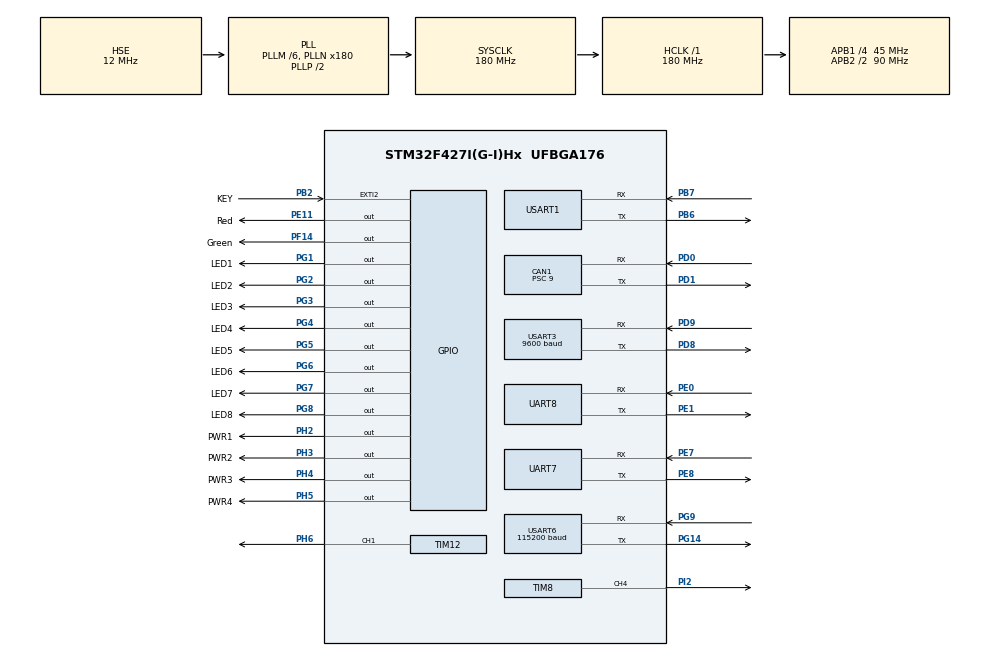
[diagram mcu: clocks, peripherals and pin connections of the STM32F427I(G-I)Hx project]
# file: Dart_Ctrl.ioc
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CAN1.ABOM=ENABLE
CAN1.BS1=CAN_BS1_2TQ
CAN1.BS2=CAN_BS2_2TQ
CAN1.CalculateBaudRate=1000000
CAN1.CalculateTimeBit=1000
CAN1.CalculateTimeQuantum=200.0
CAN1.Prescaler=9
Dma.Request0=UART7_RX
Dma.Request1=UART7_TX
Dma.Request2=USART3_TX
Dma.Request3=USART6_RX
Dma.UART7_RX.0.Direction=DMA_PERIPH_TO_MEMORY
Dma.UART7_RX.0.FIFOMode=DMA_FIFOMODE_DISABLE
Dma.UART7_RX.0.Instance=DMA1_Stream3
Dma.UART7_RX.0.MemDataAlignment=DMA_MDATAALIGN_BYTE
Dma.UART7_RX.0.MemInc=DMA_MINC_ENABLE
Dma.UART7_RX.0.Mode=DMA_NORMAL
Dma.UART7_RX.0.PeriphDataAlignment=DMA_PDATAALIGN_BYTE
Dma.UART7_RX.0.PeriphInc=DMA_PINC_DISABLE
Dma.UART7_RX.0.Priority=DMA_PRIORITY_LOW
Dma.UART7_TX.1.Direction=DMA_MEMORY_TO_PERIPH
Dma.UART7_TX.1.FIFOMode=DMA_FIFOMODE_DISABLE
Dma.UART7_TX.1.Instance=DMA1_Stream1
Dma.UART7_TX.1.MemDataAlignment=DMA_MDATAALIGN_BYTE
Dma.UART7_TX.1.MemInc=DMA_MINC_ENABLE
Dma.UART7_TX.1.Mode=DMA_NORMAL
Dma.UART7_TX.1.PeriphDataAlignment=DMA_PDATAALIGN_BYTE
Dma.UART7_TX.1.PeriphInc=DMA_PINC_DISABLE
Dma.UART7_TX.1.Priority=DMA_PRIORITY_LOW
Dma.USART3_TX.2.Direction=DMA_MEMORY_TO_PERIPH
Dma.USART3_TX.2.FIFOMode=DMA_FIFOMODE_DISABLE
Dma.USART3_TX.2.Instance=DMA1_Stream4
Dma.USART3_TX.2.MemDataAlignment=DMA_MDATAALIGN_BYTE
Dma.USART3_TX.2.MemInc=DMA_MINC_ENABLE
Dma.USART3_TX.2.Mode=DMA_NORMAL
Dma.USART3_TX.2.PeriphDataAlignment=DMA_PDATAALIGN_BYTE
Dma.USART3_TX.2.PeriphInc=DMA_PINC_DISABLE
Dma.USART3_TX.2.Priority=DMA_PRIORITY_LOW
Dma.USART6_RX.3.Direction=DMA_PERIPH_TO_MEMORY
Dma.USART6_RX.3.FIFOMode=DMA_FIFOMODE_DISABLE
Dma.USART6_RX.3.Instance=DMA2_Stream1
Dma.USART6_RX.3.MemDataAlignment=DMA_MDATAALIGN_BYTE
Dma.USART6_RX.3.MemInc=DMA_MINC_ENABLE
Dma.USART6_RX.3.Mode=DMA_NORMAL
Dma.USART6_RX.3.PeriphDataAlignment=DMA_PDATAALIGN_BYTE
Dma.USART6_RX.3.PeriphInc=DMA_PINC_DISABLE
Dma.USART6_RX.3.Priority=DMA_PRIORITY_LOW
FREERTOS.Tasks01=defaultTask,24,128,StartDefaultTask,Default,NULL,Dynamic,NULL,NULL
FREERTOS.configENABLE_FPU=1
Mcu.Family=STM32F4
Mcu.Name=STM32F427I(G-I)Hx
Mcu.Package=UFBGA176
NVIC.CAN1_RX0_IRQn=true\:5\:0\:false\:false\:true\:true\:true\:true\:true
NVIC.CAN1_RX1_IRQn=true\:5\:0\:false\:false\:true\:true\:true\:true\:true
NVIC.CAN1_SCE_IRQn=true\:5\:0\:false\:false\:true\:true\:true\:true\:true
NVIC.CAN1_TX_IRQn=true\:5\:0\:false\:false\:true\:true\:true\:true\:true
NVIC.DMA1_Stream1_IRQn=true\:5\:0\:false\:false\:true\:true\:false\:true\:true
NVIC.DMA1_Stream3_IRQn=true\:5\:0\:false\:false\:true\:true\:false\:true\:true
NVIC.DMA1_Stream4_IRQn=true\:5\:0\:false\:false\:true\:true\:false\:true\:true
NVIC.DMA2_Stream1_IRQn=true\:5\:0\:false\:false\:true\:true\:false\:true\:true
NVIC.PriorityGroup=NVIC_PRIORITYGROUP_4
NVIC.TIM4_IRQn=true\:1\:0\:true\:false\:true\:false\:false\:true\:true
NVIC.TimeBase=TIM4_IRQn
NVIC.TimeBaseIP=TIM4
NVIC.UART7_IRQn=true\:5\:0\:false\:false\:true\:true\:true\:true\:true
NVIC.UART8_IRQn=true\:5\:0\:false\:false\:true\:true\:true\:true\:true
NVIC.USART3_IRQn=true\:5\:0\:false\:false\:true\:true\:true\:true\:true
NVIC.USART6_IRQn=true\:5\:0\:false\:false\:true\:true\:true\:true\:true
PA13.Mode=Serial_Wire
PA13.Signal=SYS_JTMS-SWDIO
PA14.Mode=Serial_Wire
PA14.Signal=SYS_JTCK-SWCLK
PB2/BOOT1.GPIO_Label=KEY
PB2/BOOT1.GPIO_ModeDefaultEXTI=GPIO_MODE_IT_RISING
PB2/BOOT1.GPIO_PuPd=GPIO_PULLDOWN
PB2/BOOT1.Signal=GPXTI2
PB6.Mode=Asynchronous
PB6.Signal=USART1_TX
PB7.Mode=Asynchronous
PB7.Signal=USART1_RX
PC14/OSC32_IN.Mode=LSE-External-Oscillator
PC14/OSC32_IN.Signal=RCC_OSC32_IN
PC15/OSC32_OUT.Mode=LSE-External-Oscillator
PC15/OSC32_OUT.Signal=RCC_OSC32_OUT
PD0.Mode=CAN_Activate
PD0.Signal=CAN1_RX
PD1.Mode=CAN_Activate
PD1.Signal=CAN1_TX
PD8.Mode=Asynchronous
PD8.Signal=USART3_TX
PD9.Mode=Asynchronous
PD9.Signal=USART3_RX
PE0.Mode=Asynchronous
PE0.Signal=UART8_RX
PE1.Mode=Asynchronous
PE1.Signal=UART8_TX
PE11.GPIO_Label=Red
PE11.GPIO_PuPd=GPIO_PULLDOWN
PE11.PinState=GPIO_PIN_SET
PE11.Signal=GPIO_Output
PE7.Mode=Asynchronous
PE7.Signal=UART7_RX
PE8.Mode=Asynchronous
PE8.Signal=UART7_TX
PF14.GPIO_Label=Green
PF14.GPIO_PuPd=GPIO_PULLDOWN
PF14.GPIO_Speed=GPIO_SPEED_FREQ_LOW
PF14.PinState=GPIO_PIN_SET
PF14.Signal=GPIO_Output
PG1.GPIO_Label=LED1
PG1.GPIO_PuPd=GPIO_PULLDOWN
PG1.PinState=GPIO_PIN_SET
PG1.Signal=GPIO_Output
PG14.Mode=Asynchronous
PG14.Signal=USART6_TX
PG2.GPIO_Label=LED2
PG2.GPIO_PuPd=GPIO_PULLDOWN
PG2.PinState=GPIO_PIN_SET
PG2.Signal=GPIO_Output
PG3.GPIO_Label=LED3
PG3.GPIO_PuPd=GPIO_PULLDOWN
PG3.PinState=GPIO_PIN_SET
PG3.Signal=GPIO_Output
PG4.GPIO_Label=LED4
PG4.GPIO_PuPd=GPIO_PULLDOWN
PG4.PinState=GPIO_PIN_SET
PG4.Signal=GPIO_Output
PG5.GPIO_Label=LED5
PG5.GPIO_PuPd=GPIO_PULLDOWN
PG5.PinState=GPIO_PIN_SET
PG5.Signal=GPIO_Output
PG6.GPIO_Label=LED6
PG6.GPIO_PuPd=GPIO_PULLDOWN
PG6.PinState=GPIO_PIN_SET
PG6.Signal=GPIO_Output
PG7.GPIO_Label=LED7
PG7.GPIO_PuPd=GPIO_PULLDOWN
PG7.PinState=GPIO_PIN_SET
PG7.Signal=GPIO_Output
PG8.GPIO_Label=LED8
PG8.GPIO_PuPd=GPIO_PULLDOWN
PG8.PinState=GPIO_PIN_SET
PG8.Signal=GPIO_Output
PG9.Mode=Asynchronous
PG9.Signal=USART6_RX
PH0/OSC_IN.Mode=HSE-External-Oscillator
PH0/OSC_IN.Signal=RCC_OSC_IN
PH1/OSC_OUT.Mode=HSE-External-Oscillator
PH1/OSC_OUT.Signal=RCC_OSC_OUT
PH2.GPIO_Label=PWR1
PH2.GPIO_ModeDefaultOutputPP=GPIO_MODE_OUTPUT_PP
PH2.GPIO_PuPd=GPIO_PULLDOWN
PH2.Signal=GPIO_Output
PH3.GPIO_Label=PWR2
PH3.GPIO_PuPd=GPIO_PULLDOWN
PH3.Signal=GPIO_Output
PH4.GPIO_Label=PWR3
PH4.GPIO_PuPd=GPIO_PULLDOWN
PH4.Signal=GPIO_Output
PH5.GPIO_Label=PWR4
PH5.GPIO_PuPd=GPIO_PULLDOWN
PH5.Signal=GPIO_Output
PH6.Signal=S_TIM12_CH1
PI2.Signal=S_TIM8_CH4
ProjectManager.HeapSize=0x200
ProjectManager.StackSize=0x400
ProjectManager.TargetToolchain=MDK-ARM V5.32
RCC.48MHZClocksFreq_Value=90000000
RCC.AHBFreq_Value=180000000
RCC.APB1CLKDivider=RCC_HCLK_DIV4
RCC.APB1Freq_Value=45000000
RCC.APB1TimFreq_Value=90000000
RCC.APB2CLKDivider=RCC_HCLK_DIV2
RCC.APB2Freq_Value=90000000
RCC.APB2TimFreq_Value=180000000
RCC.CortexFreq_Value=180000000
RCC.HCLKFreq_Value=180000000
RCC.HSE_VALUE=12000000
RCC.HSI_VALUE=16000000
RCC.PLLM=6
RCC.PLLN=180
RCC.PLLSourceVirtual=RCC_PLLSOURCE_HSE
RCC.SYSCLKFreq_VALUE=180000000
RCC.SYSCLKSource=RCC_SYSCLKSOURCE_PLLCLK
RCC.VCOOutputFreq_Value=360000000
SH.S_TIM12_CH1.0=TIM12_CH1,PWM Generation1 CH1
SH.S_TIM8_CH4.0=TIM8_CH4,PWM Generation4 CH4
TIM12.AutoReloadPreload=TIM_AUTORELOAD_PRELOAD_ENABLE
TIM12.Channel-PWM\ Generation1\ CH1=TIM_CHANNEL_1
TIM12.Period=9000 - 1
TIM12.Pulse-PWM\ Generation1\ CH1=2699
TIM8.AutoReloadPreload=TIM_AUTORELOAD_PRELOAD_ENABLE
TIM8.Channel-PWM\ Generation4\ CH4=TIM_CHANNEL_4
TIM8.Period=20000 - 1
TIM8.Prescaler=180 - 1
TIM8.Pulse-PWM\ Generation4\ CH4=2500
UART7.VirtualMode=Asynchronous
UART8.VirtualMode=Asynchronous
USART1.VirtualMode=VM_ASYNC
USART3.BaudRate=9600
USART3.VirtualMode=VM_ASYNC
USART6.BaudRate=115200
USART6.VirtualMode=VM_ASYNC
VP_FREERTOS_VS_CMSIS_V2.Mode=CMSIS_V2
VP_SYS_VS_tim4.Mode=TIM4
VP_TIM12_VS_ClockSourceINT.Mode=Internal
VP_TIM8_VS_ClockSourceINT.Mode=Internal
board=custom

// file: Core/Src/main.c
/* USER CODE BEGIN Header */
/**
 ******************************************************************************
 * @file           : main.c
 * @brief          : Main program body
 ******************************************************************************
 * @attention
 *
 * Copyright (c) 2025 STMicroelectronics.
 * All rights reserved.
 *
 * This software is licensed under terms that can be found in the LICENSE file
 * in the root directory of this software component.
 * If no LICENSE file comes with this software, it is provided AS-IS.
 *
 ******************************************************************************
 */
/* USER CODE END Header */
#include "main.h"
#include "cmsis_os.h"
#include "can.h"
#include "dma.h"
#include "tim.h"
#include "usart.h"
#include "gpio.h"

/* USER CODE BEGIN Includes */
#include "UserTask.h"
#include "SoftwareWatchdog.h"

/* USER CODE END Includes */

void SystemClock_Config(void);
void MX_FREERTOS_Init(void);

int main(void)
{

  /* MCU Configuration--------------------------------------------------------*/

  /* Reset of all peripherals, Initializes the Flash interface and the Systick. */
  HAL_Init();

  /* Configure the system clock */
  SystemClock_Config();

  /* Initialize all configured peripherals */
  MX_GPIO_Init();
  MX_DMA_Init();
  MX_CAN1_Init();
  MX_UART7_Init();
  MX_USART3_UART_Init();
  MX_USART6_UART_Init();
  MX_UART8_Init();
  MX_TIM12_Init();
  MX_USART1_UART_Init();
  MX_TIM8_Init();
  /* USER CODE BEGIN 2 */

  // 对各个外设进行初始化
  Module_Init(); /* 调用 Module_Init。 */

  /* USER CODE END 2 */

  /* Init scheduler */
  osKernelInitialize(); /* Call init function for freertos objects (in cmsis_os2.c) */
  MX_FREERTOS_Init();

  /* Start scheduler */
  osKernelStart();

  /* We should never get here as control is now taken by the scheduler */

  /* Infinite loop */
  /* USER CODE BEGIN WHILE */
  while (1) /* 持续执行当前任务。 */
  {

    /* USER CODE END WHILE */

  }
}

void SystemClock_Config(void)
{
  RCC_OscInitTypeDef RCC_OscInitStruct = {0};
  RCC_ClkInitTypeDef RCC_ClkInitStruct = {0};

  /** Configure the main internal regulator output voltage
   */
  __HAL_RCC_PWR_CLK_ENABLE();
  __HAL_PWR_VOLTAGESCALING_CONFIG(PWR_REGULATOR_VOLTAGE_SCALE1);

  /** Initializes the RCC Oscillators according to the specified parameters
   * in the RCC_OscInitTypeDef structure.
   */
  RCC_OscInitStruct.OscillatorType = RCC_OSCILLATORTYPE_HSE;
  RCC_OscInitStruct.HSEState = RCC_HSE_ON;
  RCC_OscInitStruct.PLL.PLLState = RCC_PLL_ON;
  RCC_OscInitStruct.PLL.PLLSource = RCC_PLLSOURCE_HSE;
  RCC_OscInitStruct.PLL.PLLM = 6;
  RCC_OscInitStruct.PLL.PLLN = 180;
  RCC_OscInitStruct.PLL.PLLP = RCC_PLLP_DIV2;
  RCC_OscInitStruct.PLL.PLLQ = 4;
  if (HAL_RCC_OscConfig(&RCC_OscInitStruct) != HAL_OK)
  {
    Error_Handler();
  }

  /** Activate the Over-Drive mode
   */
  if (HAL_PWREx_EnableOverDrive() != HAL_OK)
  {
    Error_Handler();
  }

  /** Initializes the CPU, AHB and APB buses clocks
   */
  RCC_ClkInitStruct.ClockType = RCC_CLOCKTYPE_HCLK | RCC_CLOCKTYPE_SYSCLK | RCC_CLOCKTYPE_PCLK1 | RCC_CLOCKTYPE_PCLK2;
  RCC_ClkInitStruct.SYSCLKSource = RCC_SYSCLKSOURCE_PLLCLK;
  RCC_ClkInitStruct.AHBCLKDivider = RCC_SYSCLK_DIV1;
  RCC_ClkInitStruct.APB1CLKDivider = RCC_HCLK_DIV4;
  RCC_ClkInitStruct.APB2CLKDivider = RCC_HCLK_DIV2;

  if (HAL_RCC_ClockConfig(&RCC_ClkInitStruct, FLASH_LATENCY_5) != HAL_OK)
  {
    Error_Handler();
  }
}

void HAL_TIM_PeriodElapsedCallback(TIM_HandleTypeDef *htim)
{
  if (htim->Instance == TIM4)
  {
    HAL_IncTick();
    SoftwareWatchdog_Tick1msFromISR(); // 每 1 ms 统一计数并检查首次超时
  }
}

void Error_Handler(void)
{
  /* USER CODE BEGIN Error_Handler_Debug */
  /* User can add his own implementation to report the HAL error return state */
  __disable_irq(); /* 调用 __disable_irq。 */
  while (1) /* 持续执行当前任务。 */
  {
  }
  /* USER CODE END Error_Handler_Debug */
}

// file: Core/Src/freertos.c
/* USER CODE BEGIN Header */
/**
 ******************************************************************************
 * File Name          : freertos.c
 * Description        : Code for freertos applications
 ******************************************************************************
 * @attention
 *
 * Copyright (c) 2025 STMicroelectronics.
 * All rights reserved.
 *
 * This software is licensed under terms that can be found in the LICENSE file
 * in the root directory of this software component.
 * If no LICENSE file comes with this software, it is provided AS-IS.
 *
 ******************************************************************************
 */
/* USER CODE END Header */

#include "FreeRTOS.h"
#include "task.h"
#include "main.h"
#include "cmsis_os.h"

/* USER CODE BEGIN Includes */
#include "UserTask.h"
#include <stdio.h>
#include <string.h>

/* USER CODE END Includes */

/* USER CODE BEGIN Variables */

static StaticSemaphore_t g_xRmBufferMutexBuffer; /* 保存 g_xRmBufferMutexBuffer。 */
SemaphoreHandle_t g_xRmBufferMutexHandle; /* 保存 g_xRmBufferMutexHandle。 */
float g_speed_right_test = 0.0f; /* 初始化 g_speed_right_test。 */
float g_speed_left_test = 0.0f; /* 初始化 g_speed_left_test。 */
float g_right_target = 0.0f; /* 初始化 g_right_target。 */
float g_left_target = 0.0f; /* 初始化 g_left_target。 */
float g_left_out_output = 0.0f; /* 初始化 g_left_out_output。 */
float g_right_out_output = 0.0f; /* 初始化 g_right_out_output。 */
float g_right_inner_test = 0.0f; /* 初始化 g_right_inner_test。 */
float g_left_inner_test = 0.0f; /* 初始化 g_left_inner_test。 */

/* USER CODE END Variables */
/* Definitions for defaultTask */
osThreadId_t defaultTaskHandle;
const osThreadAttr_t defaultTask_attributes = {
    .name = "defaultTask",
    .stack_size = 128 * 4,
    .priority = (osPriority_t)osPriorityNormal,
};

void StartDefaultTask(void *argument);

void MX_FREERTOS_Init(void); /* (MISRA C 2004 rule 8.1) */

void MX_FREERTOS_Init(void)
{

  /* USER CODE BEGIN RTOS_MUTEX */
  /* add mutexes, ... */
  g_xRmBufferMutexHandle = xSemaphoreCreateMutexStatic(&g_xRmBufferMutexBuffer); /* 更新 g_xRmBufferMutexHandle。 */
  /* USER CODE END RTOS_MUTEX */

  /* Create the thread(s) */
  /* creation of defaultTask */
  defaultTaskHandle = osThreadNew(StartDefaultTask, NULL, &defaultTask_attributes);

  /* USER CODE BEGIN RTOS_THREADS */
  /* add threads, ... */

  // 飞镖任务初始化
  TaskInitFunc(); /* 调用 TaskInitFunc。 */

  /* USER CODE END RTOS_THREADS */

}

void StartDefaultTask(void *argument)
{
  /* USER CODE BEGIN StartDefaultTask */

  // 舵机初始化（只调用一次，在循环外）
  // ServoInit();
  // vTaskDelay(100); // 等待初始化完成
  // uint8_t servo_ids[3] = {0x01, 0x02, 0x03};
  // uint16_t angles[3] = {0, 0, 0};

  // ServoControlPos(0x01, 300, 1000);
  // vTaskDelay(4000);
  // ServoControlPos(0x02, 300, 1000);
  // vTaskDelay(1200);
  // ServoControlPos(0x03, 300, 1000);
  // vTaskDelay(1200);
  // ServoControlMulti(3, servo_ids, angles, 1000);

  /* Infinite loop */
  for (;;) /* 遍历当前数据集合。 */
  {
#if 0
    HAL_GPIO_TogglePin(Green_GPIO_Port, Green_Pin); /* 调用 HAL_GPIO_TogglePin。 */
    vTaskDelay(250); /* 调用 vTaskDelay。 */
#else
    g_speed_right_test = MotorManager.MotorList[2].motor_data.solved_data[3]; /* 更新 g_speed_right_test。 */
    g_speed_left_test = MotorManager.MotorList[3].motor_data.solved_data[3]; /* 更新 g_speed_left_test。 */
    g_right_target = MotorManager.MotorList[2].cascade_pid.outer.target; /* 更新 g_right_target。 */
    g_left_target = MotorManager.MotorList[3].cascade_pid.outer.target; /* 更新 g_left_target。 */
    g_left_inner_test = MotorManager.MotorList[3].motor_data.solved_data[4]; /* 更新 g_left_inner_test。 */
    g_right_inner_test = MotorManager.MotorList[2].motor_data.solved_data[4]; /* 更新 g_right_inner_test。 */
    g_left_out_output = MotorManager.MotorList[3].cascade_pid.outer.output; /* 更新 g_left_out_output。 */
    g_right_out_output = MotorManager.MotorList[2].cascade_pid.outer.output; /* 更新 g_right_out_output。 */
    vTaskDelay(pdMS_TO_TICKS(1)); /* 调用 vTaskDelay。 */
#endif
  }
  /* USER CODE END StartDefaultTask */
}
